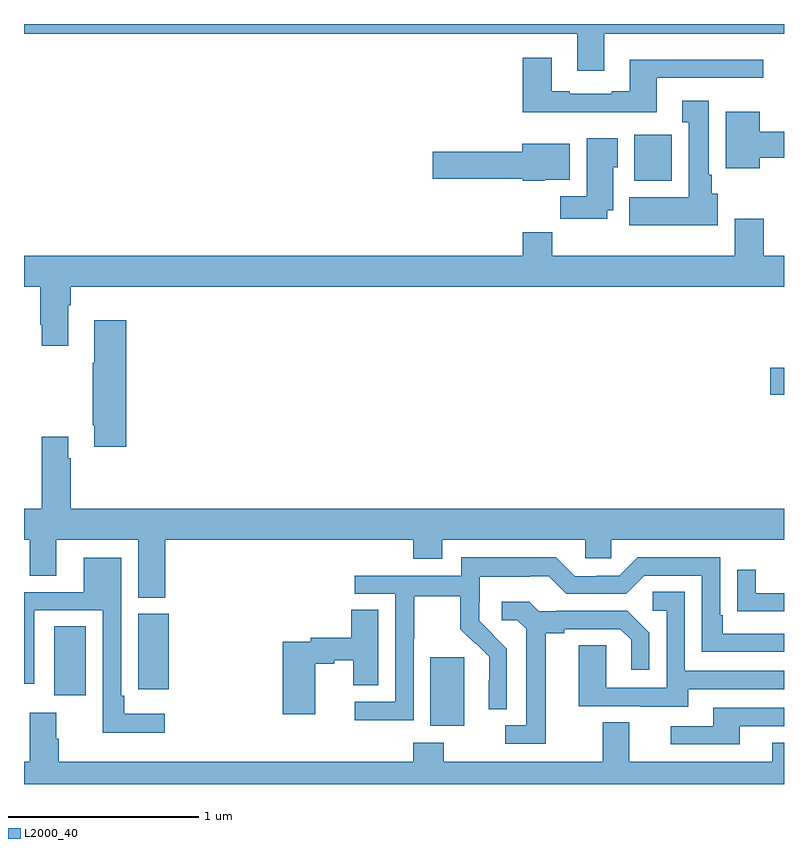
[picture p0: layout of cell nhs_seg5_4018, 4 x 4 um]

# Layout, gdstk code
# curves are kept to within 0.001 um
import gdstk
lib = gdstk.Library(unit=1e-6, precision=1e-09)
def R(c, l, rs):  # rectangles x0, y0, x1, y1
    for r in rs: c.add(gdstk.rectangle(r[:2], r[2:], *l))
def P(c, l, *ps):  # polygons
    for p in ps: c.add(gdstk.Polygon(p, *l))
L2000_40 = (2000, 40)

nhs_seg5_4018 = lib.new_cell('nhs_seg5_4018')
R(nhs_seg5_4018, L2000_40, [(349.139,865.106,349.318,865.467), (347.159,865.266,347.326,865.628), (350.928,866.849,351,866.991), (350.213,867.974,350.41,868.216)])
P(nhs_seg5_4018, L2000_40, [(350.053,868.748),(351,868.748),(351,868.799),(347,868.799),(347,868.748),(349.913,868.748),(349.913,868.554),(350.053,868.554)],
  [(350.329,868.515),(350.89,868.515),(350.89,868.612),(350.189,868.612),(350.189,868.444),(350.093,868.444),(350.093,868.431),(349.873,868.431),(349.873,868.444),(349.777,868.444),(349.777,868.621),(349.625,868.621),(349.625,868.334),(350.329,868.334)],
  [(350.65,867.906),(350.62,867.906),(350.62,868.006),(350.605,868.006),(350.605,868.396),(350.465,868.396),(350.465,868.283),(350.498,868.283),(350.498,867.886),(350.186,867.886),(350.186,867.74),(350.65,867.74)],
  [(350.872,868.096),(351,868.096),(351,868.232),(350.872,868.232),(350.872,868.336),(350.693,868.336),(350.693,868.04),(350.872,868.04)],
  [(350.071,867.818),(350.101,867.818),(350.101,868.044),(350.125,868.044),(350.125,868.198),(349.961,868.198),(349.961,867.892),(349.822,867.892),(349.822,867.774),(350.071,867.774)],
  [(349.74,867.98),(349.873,867.98),(349.873,868.168),(349.622,868.168),(349.622,868.127),(349.152,868.127),(349.152,867.985),(349.626,867.985),(349.626,867.974),(349.74,867.974)],
  [(347,867.416),(347.086,867.416),(347.086,867.217),(347.093,867.217),(347.093,867.105),(347.233,867.105),(347.233,867.32),(347.246,867.32),(347.246,867.416),(351,867.416),(351,867.58),(350.894,867.58),(350.894,867.775),(350.741,867.775),(350.741,867.58),(349.781,867.58),(349.781,867.704),(349.625,867.704),(349.625,867.58),(347,867.58)],
  [(347.537,867.241),(347.369,867.241),(347.369,867.017),(347.362,867.017),(347.362,866.686),(347.369,866.686),(347.369,866.574),(347.537,866.574)],
  [(347.744,866.084),(349.049,866.084),(349.049,865.985),(349.201,865.985),(349.201,866.084),(349.953,866.084),(349.953,865.986),(350.091,865.986),(350.091,866.084),(351,866.084),(351,866.248),(347.246,866.248),(347.246,866.513),(347.233,866.513),(347.233,866.626),(347.093,866.626),(347.093,866.248),(347,866.248),(347,866.084),(347.03,866.084),(347.03,865.894),(347.17,865.894),(347.17,866.084),(347.6,866.084),(347.6,865.78),(347.744,865.78)],
  [(349.05,865.564),(349.053,865.564),(349.053,865.788),(349.297,865.788),(349.297,865.613),(349.374,865.536),(349.377,865.539),(349.448,865.469),(349.448,865.346),(349.446,865.346),(349.446,865.192),(349.542,865.192),(349.542,865.51),(349.396,865.658),(349.396,865.755),(349.398,865.755),(349.398,865.889),(349.661,865.889),(349.661,865.893),(349.761,865.893),(349.854,865.8),(350.169,865.8),(350.265,865.896),(350.568,865.896),(350.568,865.494),(351,865.494),(351,865.59),(350.677,865.59),(350.677,865.687),(350.664,865.687),(350.664,865.992),(350.229,865.992),(350.133,865.896),(350.015,865.896),(350.015,865.893),(349.899,865.893),(349.799,865.993),(349.302,865.993),(349.302,865.896),(348.741,865.896),(348.741,865.8),(348.954,865.8),(348.954,865.233),(348.741,865.233),(348.741,865.135),(349.05,865.135)],
  [(347.74,865.168),(347.527,865.168),(347.527,865.264),(347.511,865.264),(347.511,865.99),(347.315,865.99),(347.315,865.809),(347,865.809),(347,865.326),(347.055,865.326),(347.055,865.713),(347.415,865.713),(347.415,865.07),(347.74,865.07)],
  [(351,865.803),(350.851,865.803),(350.851,865.927),(350.755,865.927),(350.755,865.708),(350.857,865.708),(350.857,865.707),(351,865.707)],
  [(350.497,865.299),(351,865.299),(351,865.395),(350.478,865.395),(350.478,865.811),(350.31,865.811),(350.31,865.71),(350.382,865.71),(350.382,865.305),(350.064,865.305),(350.064,865.529),(349.919,865.529),(349.919,865.209),(350.243,865.209),(350.243,865.205),(350.497,865.205)],
  [(349.747,865.592),(349.843,865.592),(349.843,865.614),(350.138,865.614),(350.195,865.557),(350.195,865.401),(350.292,865.401),(350.292,865.594),(350.176,865.71),(349.804,865.71),(349.804,865.707),(349.71,865.707),(349.658,865.759),(349.515,865.759),(349.515,865.662),(349.596,865.662),(349.643,865.615),(349.643,865.107),(349.533,865.107),(349.533,865.011),(349.747,865.011)],
  [(348.532,865.432),(348.633,865.432),(348.633,865.451),(348.734,865.451),(348.734,865.318),(348.865,865.318),(348.865,865.715),(348.722,865.715),(348.722,865.568),(348.508,865.568),(348.508,865.548),(348.362,865.548),(348.362,865.167),(348.532,865.167)],
  [(347.762,865.695),(347.6,865.695),(347.6,865.411),(347.601,865.411),(347.601,865.299),(347.762,865.299)],
  [(350.767,865.104),(351,865.104),(351,865.2),(350.627,865.2),(350.627,865.104),(350.403,865.104),(350.403,865.008),(350.767,865.008)],
  [(351,865.015),(350.939,865.015),(350.939,864.916),(350.185,864.916),(350.185,865.124),(350.045,865.124),(350.045,864.916),(349.209,864.916),(349.209,865.015),(349.049,865.015),(349.049,864.916),(347.183,864.916),(347.183,865.037),(347.17,865.037),(347.17,865.174),(347.03,865.174),(347.03,864.916),(347,864.916),(347,864.799),(351,864.799)])

lib.write_gds('nhs_seg5_4018.gds')
